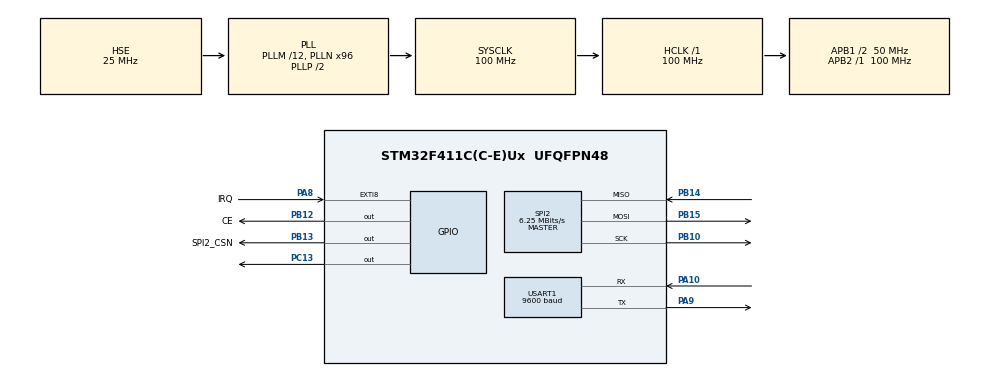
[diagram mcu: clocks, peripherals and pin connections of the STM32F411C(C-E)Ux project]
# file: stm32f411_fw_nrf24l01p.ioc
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Mcu.Family=STM32F4
Mcu.Name=STM32F411C(C-E)Ux
Mcu.Package=UFQFPN48
NVIC.EXTI9_5_IRQn=true\:0\:0\:false\:false\:true\:true\:true\:true
NVIC.PriorityGroup=NVIC_PRIORITYGROUP_4
PA10.Mode=Asynchronous
PA10.Signal=USART1_RX
PA13.Mode=Serial_Wire
PA13.Signal=SYS_JTMS-SWDIO
PA14.Mode=Serial_Wire
PA14.Signal=SYS_JTCK-SWCLK
PA8.GPIO_Label=IRQ
PA8.GPIO_ModeDefaultEXTI=GPIO_MODE_IT_FALLING
PA8.Signal=GPXTI8
PA9.Mode=Asynchronous
PA9.Signal=USART1_TX
PB10.Mode=Full_Duplex_Master
PB10.Signal=SPI2_SCK
PB12.GPIO_Label=CE
PB12.GPIO_Speed=GPIO_SPEED_FREQ_HIGH
PB12.Signal=GPIO_Output
PB13.GPIO_Label=SPI2_CSN
PB13.GPIO_Speed=GPIO_SPEED_FREQ_HIGH
PB13.PinState=GPIO_PIN_SET
PB13.Signal=GPIO_Output
PB14.Mode=Full_Duplex_Master
PB14.Signal=SPI2_MISO
PB15.Mode=Full_Duplex_Master
PB15.Signal=SPI2_MOSI
PC13-ANTI_TAMP.Signal=GPIO_Output
PC14-OSC32_IN.Mode=LSE-External-Oscillator
PC14-OSC32_IN.Signal=RCC_OSC32_IN
PC15-OSC32_OUT.Mode=LSE-External-Oscillator
PC15-OSC32_OUT.Signal=RCC_OSC32_OUT
PH0\ -\ OSC_IN.Mode=HSE-External-Oscillator
PH0\ -\ OSC_IN.Signal=RCC_OSC_IN
PH1\ -\ OSC_OUT.Mode=HSE-External-Oscillator
PH1\ -\ OSC_OUT.Signal=RCC_OSC_OUT
ProjectManager.HeapSize=0x200
ProjectManager.StackSize=0x400
ProjectManager.TargetToolchain=STM32CubeIDE
RCC.48MHZClocksFreq_Value=50000000
RCC.AHBFreq_Value=100000000
RCC.APB1CLKDivider=RCC_HCLK_DIV2
RCC.APB1Freq_Value=50000000
RCC.APB1TimFreq_Value=100000000
RCC.APB2Freq_Value=100000000
RCC.APB2TimFreq_Value=100000000
RCC.CortexFreq_Value=100000000
RCC.HCLKFreq_Value=100000000
RCC.HSE_VALUE=25000000
RCC.HSI_VALUE=16000000
RCC.PLLM=12
RCC.PLLN=96
RCC.PLLSourceVirtual=RCC_PLLSOURCE_HSE
RCC.SYSCLKFreq_VALUE=100000000
RCC.SYSCLKSource=RCC_SYSCLKSOURCE_PLLCLK
RCC.VCOOutputFreq_Value=200000000
SPI2.BaudRatePrescaler=SPI_BAUDRATEPRESCALER_8
SPI2.CalculateBaudRate=6.25 MBits/s
SPI2.Direction=SPI_DIRECTION_2LINES
SPI2.Mode=SPI_MODE_MASTER
SPI2.VirtualType=VM_MASTER
USART1.BaudRate=9600
USART1.VirtualMode=VM_ASYNC
board=custom

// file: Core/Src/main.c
/* USER CODE BEGIN Header */
/**
 ******************************************************************************
 * @file           : main.c
 * @brief          : Main program body
 ******************************************************************************
 * @attention
 *
 * <h2><center>&copy; Copyright (c) 2021 STMicroelectronics.
 * All rights reserved.</center></h2>
 *
 * This software component is licensed by ST under BSD 3-Clause license,
 * the "License"; You may not use this file except in compliance with the
 * License. You may obtain a copy of the License at:
 *                        opensource.org/licenses/BSD-3-Clause
 *
 ******************************************************************************
 */
/* USER CODE END Header */
#include "main.h"
#include "spi.h"
#include "usart.h"
#include "gpio.h"

/* USER CODE BEGIN Includes */

#include "nrf24l01p.h"

/* USER CODE END Includes */

/* USER CODE BEGIN PD */

#define TRANSMITTER
//#define RECEIVER

/* USER CODE END PD */

/* USER CODE BEGIN PV */

uint8_t rx_data[NRF24L01P_PAYLOAD_LENGTH] = { 0 };
uint8_t tx_data[NRF24L01P_PAYLOAD_LENGTH] = { 0, 1, 2, 3, 4, 5, 6, 7 };

/* USER CODE END PV */

void SystemClock_Config(void);
/* USER CODE BEGIN PFP */

void HAL_GPIO_EXTI_Callback(uint16_t GPIO_Pin);

/* USER CODE END PFP */

int main(void) {

	/* MCU Configuration--------------------------------------------------------*/

	/* Reset of all peripherals, Initializes the Flash interface and the Systick. */
	HAL_Init();

	/* Configure the system clock */
	SystemClock_Config();

	/* Initialize all configured peripherals */
	MX_GPIO_Init();
	MX_SPI2_Init();
	MX_USART1_UART_Init();
	/* USER CODE BEGIN 2 */

#ifdef RECEIVER
  	//nrf24l01p_rx_init(2500, _1Mbps);
#endif

#ifdef TRANSMITTER
	//nrf24l01p_tx_init(2500, _1Mbps);
#endif

	/* USER CODE END 2 */

	/* Infinite loop */
	while (1) {

		/* USER CODE BEGIN 3 */

		HAL_GPIO_WritePin(GPIOC, GPIO_PIN_13, GPIO_PIN_SET);

		HAL_Delay(2000);
		HAL_GPIO_WritePin(GPIOC, GPIO_PIN_13, GPIO_PIN_RESET);

		HAL_Delay(2000);
#ifdef RECEIVER

	  // Nothing to do
	  //diaplay on serial
	  char data[10] = "Hello ";
     // itoa (*rx_data,data,DECIMAL);
	  if(rx_data[0]){
		  HAL_UART_Transmit(&huart1, data, 6, 1000);
		  HAL_UART_Transmit(&huart1, "\n", 1, 1000);
	  }

#endif

#ifdef TRANSMITTER

		for (int i = 0; i < 8; i++) {
			tx_data[i]++;
		}

		nrf24l01p_tx_transmit(tx_data);
#endif

		HAL_Delay(100);

	}
	/* USER CODE END 3 */
}

void SystemClock_Config(void) {
	RCC_OscInitTypeDef RCC_OscInitStruct = { 0 };
	RCC_ClkInitTypeDef RCC_ClkInitStruct = { 0 };

	/** Configure the main internal regulator output voltage
	 */
	__HAL_RCC_PWR_CLK_ENABLE();
	__HAL_PWR_VOLTAGESCALING_CONFIG(PWR_REGULATOR_VOLTAGE_SCALE1);

	/** Initializes the RCC Oscillators according to the specified parameters
	 * in the RCC_OscInitTypeDef structure.
	 */
	RCC_OscInitStruct.OscillatorType = RCC_OSCILLATORTYPE_HSE;
	RCC_OscInitStruct.HSEState = RCC_HSE_ON;
	RCC_OscInitStruct.PLL.PLLState = RCC_PLL_ON;
	RCC_OscInitStruct.PLL.PLLSource = RCC_PLLSOURCE_HSE;
	RCC_OscInitStruct.PLL.PLLM = 12;
	RCC_OscInitStruct.PLL.PLLN = 96;
	RCC_OscInitStruct.PLL.PLLP = RCC_PLLP_DIV2;
	RCC_OscInitStruct.PLL.PLLQ = 4;
	if (HAL_RCC_OscConfig(&RCC_OscInitStruct) != HAL_OK) {
		Error_Handler();
	}

	/** Initializes the CPU, AHB and APB buses clocks
	 */
	RCC_ClkInitStruct.ClockType = RCC_CLOCKTYPE_HCLK | RCC_CLOCKTYPE_SYSCLK
			| RCC_CLOCKTYPE_PCLK1 | RCC_CLOCKTYPE_PCLK2;
	RCC_ClkInitStruct.SYSCLKSource = RCC_SYSCLKSOURCE_PLLCLK;
	RCC_ClkInitStruct.AHBCLKDivider = RCC_SYSCLK_DIV1;
	RCC_ClkInitStruct.APB1CLKDivider = RCC_HCLK_DIV2;
	RCC_ClkInitStruct.APB2CLKDivider = RCC_HCLK_DIV1;

	if (HAL_RCC_ClockConfig(&RCC_ClkInitStruct, FLASH_LATENCY_3) != HAL_OK) {
		Error_Handler();
	}
}

/* USER CODE BEGIN 4 */

void HAL_GPIO_EXTI_Callback(uint16_t GPIO_Pin) {
	if (GPIO_Pin == NRF24L01P_IRQ_PIN_NUMBER) {
#ifdef RECEIVER
	    nrf24l01p_rx_receive(rx_data);
#endif

#ifdef TRANSMITTER
		nrf24l01p_tx_irq();
#endif
	}

}

/* USER CODE END 4 */

void Error_Handler(void) {
	__disable_irq();
	while (1) {
	}
}
